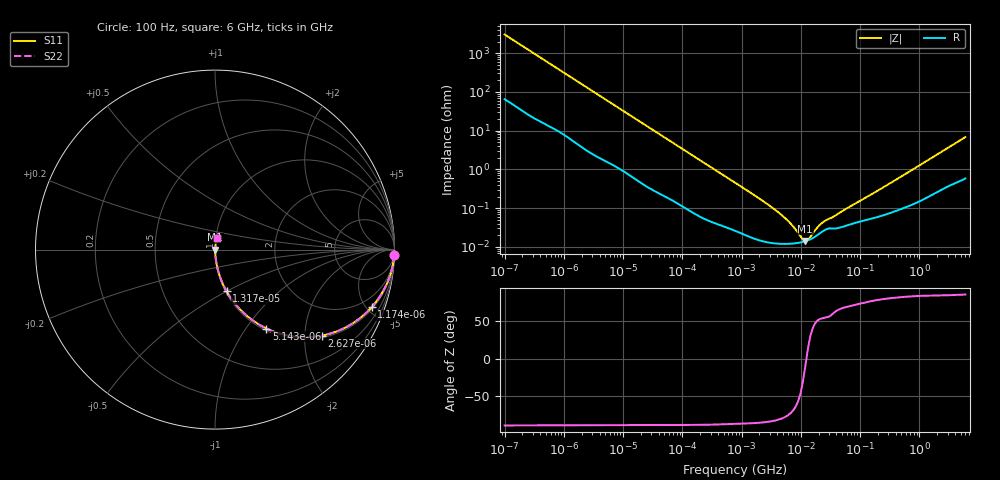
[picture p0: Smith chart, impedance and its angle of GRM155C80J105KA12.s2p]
!Murata Part Number: GRM155C80J105KA12
!These Parameters are Measured in Series Mode Connection
!Data Generated on Mar 30, 2021
!  o--ll--o
!Port1  Port2
!  o------o
!Operation Temp=25[degC], DC Bias Voltage=0[V]
!Freq. Start=100[Hz] Stop=6[GHz] 401[Steps]
# Hz S RI R 50
!Freq.(Hz) S11(Real) S11(Imag) S21(Real) S21(Imag) S12(Real) S12(Imag) S22(Real) S22(Imag)
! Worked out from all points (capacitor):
!   401 points, 100 Hz to 6 GHz, reference 50 ohm
!   read as one part in series: C = 520 nF near 109 Hz
!   lowest |Z| = 14.3 mohm at 11.89 MHz (marker M1)
!   series resonance near 12.43 MHz, so ESL is about 320 pH
!   S11 on the Smith chart (normalised r, x): 100 Hz: 2, -61; 1.174 kHz: 1.13, -5.38; 2.627 kHz: 1.06, -2.43; 5.143 kHz: 1.03, -1.25; 13.17 kHz: 1.01, -0.50; 6 GHz: 1.01, +0.14
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100  0.9982 -0.0328  0.00178 0.0328  0.00178 0.0328  0.9982 -0.0328
401  0.9808 -0.1264  0.0192 0.1264  0.0192 0.1264  0.9808 -0.1264
1174  0.8726 -0.3213  0.1274 0.3213  0.1274 0.3213  0.8726 -0.3213
2008  0.7108 -0.4418  0.2892 0.4418  0.2892 0.4418  0.7108 -0.4418
2627  0.5942 -0.4795  0.4058 0.4795  0.4058 0.4795  0.5942 -0.4795
3594  0.4444 -0.485  0.5556 0.485  0.5556 0.485  0.4444 -0.485
5143  0.2869 -0.4396  0.7131 0.4396  0.7131 0.4396  0.2869 -0.4396
8047  0.147 -0.3405  0.853 0.3405  0.853 0.3405  0.147 -0.3405
13169  0.0641 -0.2315  0.9359 0.2315  0.9359 0.2315  0.0641 -0.2315
40335  0.00916 -0.0818  0.9908 0.0818  0.9908 0.0818  0.00916 -0.0818
129199  0.00158 -0.0264  0.9984 0.0264  0.9984 0.0264  0.00158 -0.0264
774597  0.000282 -0.00456  0.9997 0.00456  0.9997 0.00456  0.000282 -0.00456
4440638  0.000121 -0.000716  0.9999 0.000716  0.9999 0.000716  0.000121 -0.000716
6644369  0.000121 -0.000392  0.9999 0.000392  0.9999 0.000392  0.000121 -0.000392
1.039699e7  0.000133 -0.000105  0.9999 0.000105  0.9999 0.000105  0.000133 -0.000105
1.189169e7  0.00014 -2.59e-05  0.9999 2.59e-05  0.9999 2.59e-05  0.00014 -2.59e-05
1.360128e7  0.000151 5.24e-05  0.9998 -5.24e-05  0.9998 -5.24e-05  0.000151 5.24e-05
1.555665e7  0.000166 0.000131  0.9998 -0.000131  0.9998 -0.000131  0.000166 0.000131
2.035112e7  0.000219 0.00028  0.9998 -0.00028  0.9998 -0.00028  0.000219 0.00028
2.545746e7  0.000273 0.000382  0.9997 -0.000382  0.9997 -0.000382  0.000273 0.000382
3.124326e8  0.000758 0.00422  0.9992 -0.00422  0.9992 -0.00422  0.000758 0.00422
6e9  0.0104 0.0671  0.9896 -0.0671  0.9896 -0.0671  0.0104 0.0671
